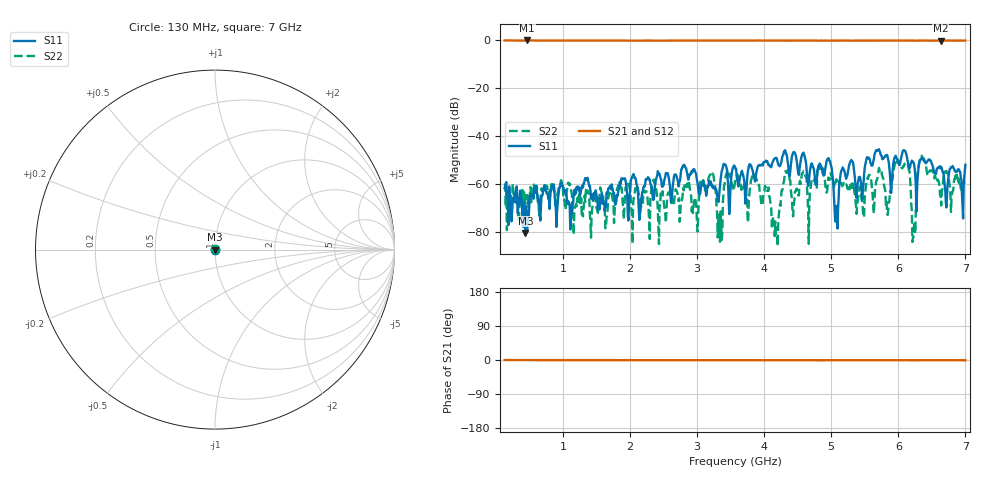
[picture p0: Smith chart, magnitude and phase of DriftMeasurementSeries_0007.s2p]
# Hz S RI R 50.000000
! Metas.Vna.Tools, 2.8.8664.20301
! Metas.Vna.Data, 2.8.8664.20285
! Created: UTC 2024.02.11 10:08:08
! FREQ  re:S1,1  im:S1,1  re:S2,1  im:S2,1  re:S1,2  im:S1,2  re:S2,2  im:S2,2
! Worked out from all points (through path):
!   801 points, 130 MHz to 7 GHz, reference 50 ohm
!   highest |S21| = 0.02 dB at 464.9 MHz (marker M1); lowest = -0.1 dB at 6.631 GHz (marker M2)
!   lowest |S11| = -80.5 dB at 439.1 MHz (marker M3), VSWR 1.00, Z = 50 - j0.00927 ohm
!   |S11| at or under -10 dB: start of sweep to end of sweep
!   |S22| runs from -86.1 to -48.2 dB; largest |S21 - S12| = 0.012
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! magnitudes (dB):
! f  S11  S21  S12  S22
! 130 MHz  -61.8  0.0  0.0  -59.8
! 439.1 MHz  -80.5  0.0  0.0  -64.7
! 464.9 MHz  -80.1  0.0  0.0  -64.6
! 1.281 GHz  -61.5  0.0  0.0  -73.8
! 2.423 GHz  -55.4  -0.1  0.0  -77.7
! 3.213 GHz  -60.3  0.0  0.0  -55.4
! 3.342 GHz  -60.9  0.0  0.0  -84.2
! 3.436 GHz  -53.0  -0.1  0.0  -55.8
! 3.565 GHz  -52.9  -0.1  0.0  -59.0
! 4.175 GHz  -49.1  0.0  0.0  -81.5
! 4.329 GHz  -47.3  0.0  0.0  -55.4
! 4.716 GHz  -51.7  0.0  0.0  -57.9
! 4.973 GHz  -50.4  0.0  0.0  -58.4
! 5.076 GHz  -69.2  -0.1  0.0  -58.1
! 5.291 GHz  -50.5  0.0  0.0  -60.3
! 5.858 GHz  -51.1  0.0  0.0  -67.6
! 5.987 GHz  -50.0  0.0  0.0  -50.5
! 6.141 GHz  -50.9  0.0  0.0  -52.1
! 6.227 GHz  -51.1  0.0  0.0  -82.3
! 6.347 GHz  -49.1  0.0  0.0  -48.2
! 6.631 GHz  -53.5  -0.1  0.0  -64.9
! 7 GHz  -52.0  -0.1  0.0  -58.4
